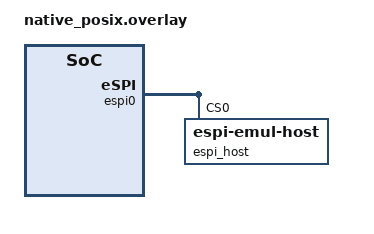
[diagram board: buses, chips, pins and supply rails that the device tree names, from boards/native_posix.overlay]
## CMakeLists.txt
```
# Copyright 2021 Google LLC
# SPDX-License-Identifier: Apache-2.0

cmake_minimum_required(VERSION 3.28.0)

find_package(Zephyr REQUIRED HINTS $ENV{ZEPHYR_BASE})
project(espi)

FILE(GLOB app_sources src/*.c)
target_sources(app PRIVATE ${app_sources})
```

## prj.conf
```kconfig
# Copyright 2021 Google LLC
# SPDX-License-Identifier: Apache-2.0

CONFIG_ZTEST=y
CONFIG_ESPI=y
CONFIG_EMUL=y
CONFIG_EMUL_ESPI_HOST=y

CONFIG_ESPI_PERIPHERAL_CHANNEL=y
CONFIG_ESPI_PERIPHERAL_ACPI_SHM_REGION=y
```

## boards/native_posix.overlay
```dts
/*
 * Copyright 2021 Google LLC
 *
 * SPDX-License-Identifier: Apache-2.0
 */

&espi0 {
	espi_host: espi-host@0 {
		status = "okay";
		compatible = "zephyr,espi-emul-host";
		reg = <0x0>;
	};
};
```

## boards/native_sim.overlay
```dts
/*
 * Copyright 2021 Google LLC
 *
 * SPDX-License-Identifier: Apache-2.0
 */

&espi0 {
	espi_host: espi-host@0 {
		compatible = "zephyr,espi-emul-espi-host";
		reg = <0x0>;
		status = "okay";
	};
};
```

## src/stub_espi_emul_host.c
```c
/*
 * Copyright 2022 Google LLC
 * SPDX-License-Identifier: Apache-2.0
 */

#include <zephyr/device.h>
#include <zephyr/devicetree.h>

#define DT_DRV_COMPAT zephyr_espi_emul_espi_host

/* Stub out an espi host device struct to use espi_host emulator. */
static int emul_espi_host_init_stub(const struct device *dev)
{
	ARG_UNUSED(dev);

	return 0;
}

struct emul_espi_host_stub_dev_data {
	/* Stub */
};
struct emul_espi_host_stub_dev_config {
	/* Stub */
};
struct emul_espi_host_stub_dev_api {
	/* Stub */
};

/* Since this is only stub, allocate the structs once. */
static struct emul_espi_host_stub_dev_data stub_host_data;
static struct emul_espi_host_stub_dev_config stub_host_config;
static struct emul_espi_host_stub_dev_api stub_host_api;

#define EMUL_ESPI_HOST_DEVICE_STUB(n)                                                              \
	DEVICE_INSTANCE_FROM_DT_INST(n, &emul_espi_host_init_stub, NULL, &stub_host_data,          \
			      &stub_host_config, POST_KERNEL, &stub_host_api)

DT_INST_FOREACH_STATUS_OKAY(EMUL_ESPI_HOST_DEVICE_STUB);
```

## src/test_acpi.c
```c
/*
 * Copyright 2021 Google LLC
 * SPDX-License-Identifier: Apache-2.0
 */

#include <zephyr/device.h>
#include <zephyr/drivers/espi.h>
#include <zephyr/drivers/espi_emul.h>
#include <zephyr/ztest.h>

ZTEST(espi, test_acpi_shared_memory)
{
	const struct device *const espi_dev = DEVICE_DT_GET(DT_NODELABEL(espi0));
	struct espi_cfg cfg = {
		.channel_caps = ESPI_CHANNEL_VWIRE | ESPI_CHANNEL_PERIPHERAL,
	};
	uintptr_t host_shm, peripheral_shm;

	zassert_true(device_is_ready(espi_dev), "Device is not ready");

	zassert_ok(espi_config(espi_dev, &cfg));

	host_shm = emul_espi_host_get_acpi_shm(espi_dev);
	zassert_not_equal(host_shm, 0);

	zassert_ok(espi_read_lpc_request(espi_dev, EACPI_GET_SHARED_MEMORY,
					 (uint32_t *)&peripheral_shm));

	zassert_equal(host_shm, peripheral_shm);
}

ZTEST_SUITE(espi, NULL, NULL, NULL, NULL, NULL);
```
